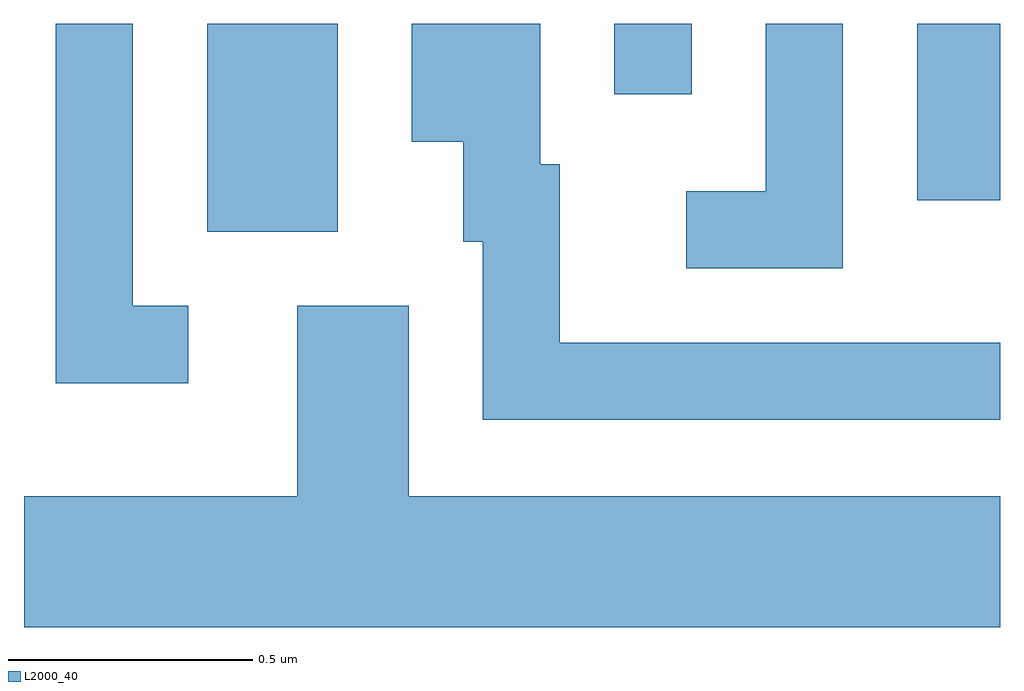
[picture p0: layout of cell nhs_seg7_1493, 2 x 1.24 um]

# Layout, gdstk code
import gdstk
lib = gdstk.Library(unit=1e-6, precision=1e-09)
def R(c, l, rs):  # rectangles x0, y0, x1, y1
    for r in rs: c.add(gdstk.rectangle(r[:2], r[2:], *l))
def P(c, l, *ps):  # polygons
    for p in ps: c.add(gdstk.Polygon(p, *l))
L2000_40 = (2000, 40)

nhs_seg7_1493 = lib.new_cell('nhs_seg7_1493')
R(nhs_seg7_1493, L2000_40, [(195.986,1792.826,196.254,1793.252), (197.441,1792.891,197.611,1793.252), (196.821,1793.108,196.979,1793.252)])
P(nhs_seg7_1493, L2000_40, [(197.289,1793.252),(197.131,1793.252),(197.131,1792.909),(196.968,1792.909),(196.968,1792.751),(197.289,1792.751)],
  [(197.611,1792.599),(196.709,1792.599),(196.709,1792.964),(196.669,1792.964),(196.669,1793.252),(196.406,1793.252),(196.406,1793.011),(196.511,1793.011),(196.511,1792.806),(196.551,1792.806),(196.551,1792.441),(197.611,1792.441)],
  [(195.948,1792.674),(195.834,1792.674),(195.834,1793.252),(195.676,1793.252),(195.676,1792.516),(195.948,1792.516)],
  [(197.611,1792.284),(196.399,1792.284),(196.399,1792.674),(196.171,1792.674),(196.171,1792.284),(195.611,1792.284),(195.611,1792.016),(197.611,1792.016)])

lib.write_gds('nhs_seg7_1493.gds')
